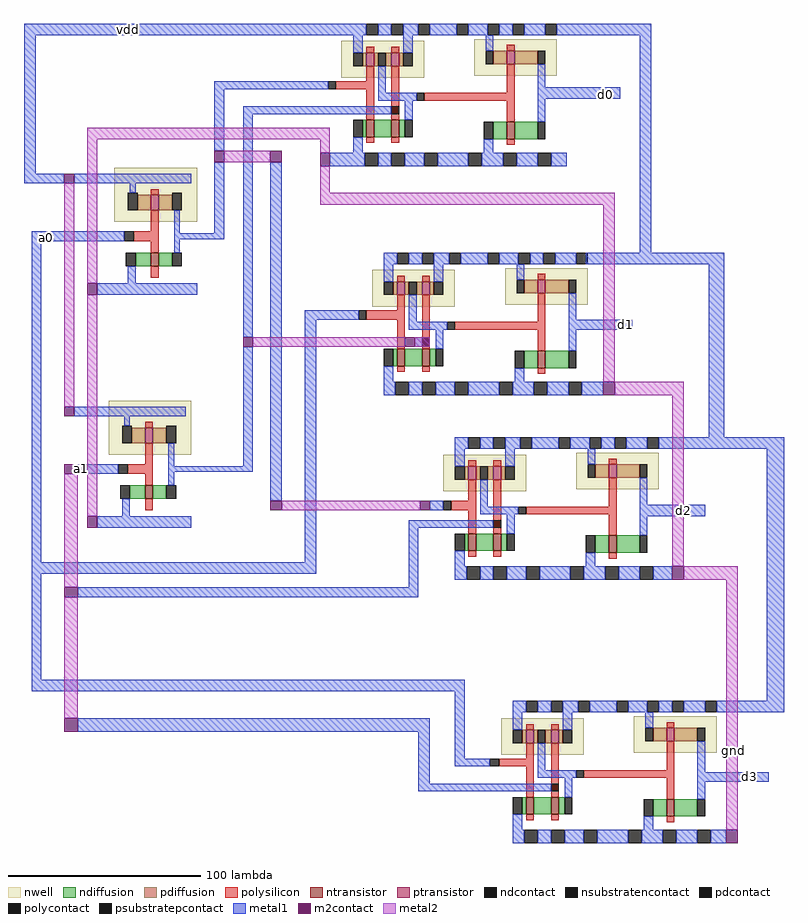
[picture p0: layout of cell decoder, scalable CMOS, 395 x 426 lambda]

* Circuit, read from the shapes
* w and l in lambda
.subckt decoder a0 a1 d0 d1 d2 d3 gnd vdd
M1 and_0/b a1 gnd gnd nfet w=7 l=4
M2 and_0/a a0 gnd gnd nfet w=7 l=4
M3 n1 and_0/a gnd gnd nfet w=9 l=4
M4 n2 and_0/b n1 gnd nfet w=9 l=4
M5 n3 a0 gnd gnd nfet w=9 l=4
M6 n4 and_0/b n3 gnd nfet w=9 l=4
M7 n5 and_0/a gnd gnd nfet w=9 l=4
M8 n6 a1 n5 gnd nfet w=9 l=4
M9 d0 n2 gnd gnd nfet w=9 l=4
M10 n7 a0 gnd gnd nfet w=9 l=4
M11 d1 n4 gnd gnd nfet w=9 l=4
M12 n8 a1 n7 gnd nfet w=9 l=4
M13 d2 n6 gnd gnd nfet w=9 l=4
M14 d3 n8 gnd gnd nfet w=9 l=4
M15 and_0/b a1 vdd n9 pfet w=8 l=4
M16 and_0/a a0 vdd n10 pfet w=8 l=4
M17 n2 and_0/a vdd n11 pfet w=7 l=4
M18 vdd and_0/b n2 n11 pfet w=7 l=4
M19 n4 a0 vdd n12 pfet w=7 l=4
M20 vdd and_0/b n4 n12 pfet w=7 l=4
M21 n6 and_0/a vdd n13 pfet w=7 l=4
M22 vdd a1 n6 n13 pfet w=7 l=4
M23 d0 n2 vdd n14 pfet w=7 l=4
M24 n8 a0 vdd n15 pfet w=7 l=4
M25 d1 n4 vdd n16 pfet w=7 l=4
M26 vdd a1 n8 n15 pfet w=7 l=4
M27 d2 n6 vdd n17 pfet w=7 l=4
M28 d3 n8 vdd n18 pfet w=7 l=4
.ends

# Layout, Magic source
magic
tech scmos
<< polysilicon >>
rect 69 159 88 163
rect 98 150 102 151
rect 85 39 101 44
rect 129 -60 141 -55
rect 154 -193 172 -189
<< polycontact >>
rect 65 159 69 163
rect 98 146 102 150
rect 81 39 85 44
rect 114 25 118 30
rect 125 -60 129 -55
rect 151 -69 155 -65
rect 149 -193 154 -189
rect 181 -206 185 -202
<< metal1 >>
rect -93 187 81 193
rect 184 187 233 193
rect -93 115 -87 187
rect 6 159 65 163
rect 6 127 11 159
rect 174 154 217 160
rect -93 110 -72 115
rect -67 110 -43 115
rect -89 80 -42 85
rect 6 84 11 121
rect -9 81 11 84
rect 21 146 98 150
rect -89 -87 -84 80
rect -55 52 -46 58
rect 21 30 26 146
rect -67 -11 -30 -6
rect -65 -41 -52 -36
rect 21 -37 26 25
rect -12 -40 26 -37
rect 35 -55 41 121
rect 66 119 82 126
rect 227 74 233 187
rect 199 68 271 74
rect 53 39 81 44
rect -55 -69 -49 -63
rect 53 -87 59 39
rect 190 34 223 39
rect 110 25 114 30
rect 205 0 208 7
rect 263 -22 271 68
rect 237 -28 302 -22
rect 118 -60 125 -55
rect 227 -63 261 -57
rect -89 -93 59 -87
rect 107 -69 151 -65
rect -89 -148 -84 -93
rect 107 -100 112 -69
rect 241 -96 244 -89
rect -65 -105 112 -100
rect -89 -154 136 -148
rect -65 -175 118 -168
rect 112 -202 118 -175
rect 131 -189 136 -154
rect 293 -159 302 -28
rect 267 -165 302 -159
rect 131 -193 149 -189
rect 257 -201 294 -196
rect 112 -206 181 -202
<< m2contact >>
rect 6 121 11 127
rect -72 110 -67 115
rect -60 52 -55 58
rect 21 25 26 30
rect -72 -11 -67 -6
rect -72 -41 -65 -36
rect 35 121 41 127
rect 61 119 66 126
rect 35 -60 41 -55
rect -60 -69 -55 -63
rect 105 25 110 30
rect 208 0 214 7
rect 113 -60 118 -55
rect 244 -96 250 -89
rect -72 -105 -65 -100
rect -72 -175 -65 -168
rect 272 -233 278 -226
<< metal2 >>
rect -60 133 66 139
rect -72 -6 -67 110
rect -60 58 -55 133
rect 11 121 35 127
rect 61 126 66 133
rect 61 105 66 119
rect 61 99 214 105
rect -72 -100 -65 -41
rect -60 -63 -55 52
rect 26 25 105 30
rect 110 25 118 30
rect 208 7 214 99
rect 214 0 250 7
rect 41 -60 113 -55
rect 244 -89 250 0
rect 250 -96 278 -89
rect -72 -168 -65 -105
rect 272 -226 278 -96
use not  not_0
transform 1 0 -44 0 1 80
box -7 -28 41 38
use not  not_1
transform 1 0 -47 0 1 -41
box -7 -28 41 38
use and  and_0
transform 1 0 115 0 1 157
box -43 -38 74 36
use and  and_1
transform 1 0 131 0 1 38
box -43 -38 74 36
use and  and_2
transform 1 0 168 0 1 -58
box -43 -38 74 36
use and  and_3
transform 1 0 198 0 1 -195
box -43 -38 74 36
<< labels >>
rlabel metal1 -83 81 -80 83 1 a0
rlabel metal1 -64 -39 -62 -37 1 a1
rlabel metal1 -41 189 -36 191 5 vdd
rlabel metal2 275 -186 277 -183 1 gnd
rlabel metal1 283 -200 285 -197 1 d3
rlabel metal1 239 -63 261 -57 1 d2
rlabel metal1 218 35 221 38 1 d1
rlabel metal1 207 155 211 157 1 d0
<< end >>

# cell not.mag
magic
tech scmos
<< nwell >>
rect -2 10 41 38
<< ntransistor >>
rect 17 -13 21 -6
<< ptransistor >>
rect 17 16 21 24
<< ndiffusion >>
rect 9 -13 17 -6
rect 21 -13 28 -6
<< pdiffusion >>
rect 10 16 17 24
rect 21 16 28 24
<< ndcontact >>
rect 4 -13 9 -6
rect 28 -13 33 -6
<< pdcontact >>
rect 5 16 10 25
rect 28 16 33 25
<< polysilicon >>
rect 17 24 21 27
rect 17 5 21 16
rect 8 0 21 5
rect 17 -6 21 0
rect 17 -19 21 -13
<< polycontact >>
rect 3 0 8 5
<< metal1 >>
rect 0 30 38 35
rect 6 25 9 30
rect -7 0 3 5
rect 29 4 32 16
rect 29 1 37 4
rect 29 -6 32 1
rect 5 -22 9 -13
rect -2 -28 41 -22
<< labels >>
rlabel metal1 16 31 21 33 1 vdd
rlabel metal1 29 1 37 4 1 out
rlabel metal1 -6 1 2 4 3 in
rlabel metal1 17 -27 25 -24 1 gnd
<< end >>

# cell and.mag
magic
tech scmos
<< nwell >>
rect -43 8 0 27
rect 26 9 69 28
<< ntransistor >>
rect -30 -23 -26 -14
rect -17 -23 -13 -14
rect 43 -24 47 -15
<< ptransistor >>
rect -30 14 -26 21
rect -17 14 -13 21
rect 43 15 47 22
<< ndiffusion >>
rect -32 -23 -30 -14
rect -26 -23 -17 -14
rect -13 -23 -10 -14
rect 36 -24 43 -15
rect 47 -24 59 -15
<< pdiffusion >>
rect -32 14 -30 21
rect -26 14 -24 21
rect -20 14 -17 21
rect -13 14 -11 21
rect 36 15 43 22
rect 47 15 59 22
<< ndcontact >>
rect -37 -23 -32 -14
rect -10 -23 -6 -14
rect 31 -24 36 -15
rect 59 -24 63 -15
<< pdcontact >>
rect -37 14 -32 21
rect -24 14 -20 21
rect -11 14 -6 21
rect 32 15 36 22
rect 59 15 63 22
<< psubstratepcontact >>
rect -31 -38 -24 -31
rect -17 -38 -10 -31
rect 0 -38 7 -31
rect 23 -38 30 -31
rect 41 -38 48 -31
rect 59 -38 66 -31
<< nsubstratencontact >>
rect -30 30 -24 36
rect -17 30 -11 36
rect -3 30 3 36
rect 17 30 23 36
rect 33 30 39 36
rect 46 30 52 36
rect 63 30 69 36
<< polysilicon >>
rect -30 21 -26 24
rect -17 21 -13 24
rect 43 22 47 25
rect -30 -14 -26 14
rect -17 -14 -13 14
rect 43 0 47 15
rect 0 -4 47 0
rect 43 -15 47 -4
rect -30 -26 -26 -23
rect -17 -26 -13 -23
rect 43 -27 47 -24
<< polycontact >>
rect -4 -4 0 0
<< metal1 >>
rect -37 30 -30 36
rect -24 30 -17 36
rect -11 30 -3 36
rect 3 30 17 36
rect 23 30 33 36
rect 39 30 46 36
rect 52 30 63 36
rect -37 21 -32 30
rect -11 21 -6 30
rect 32 22 36 30
rect -24 0 -20 14
rect -24 -4 -4 0
rect -10 -14 -6 -4
rect 59 -15 63 15
rect -37 -31 -32 -23
rect 31 -31 36 -24
rect -37 -38 -31 -31
rect -24 -38 -17 -31
rect -10 -38 0 -31
rect 7 -38 23 -31
rect 30 -38 41 -31
rect 48 -38 59 -31
rect 66 -38 74 -31
<< labels >>
rlabel metal1 -33 32 -32 33 5 vdd
rlabel metal1 -34 -35 -33 -34 1 gnd
rlabel polysilicon -29 -4 -28 -3 1 a
rlabel polysilicon -15 2 -14 3 1 b
rlabel metal1 61 -2 62 -1 1 y
<< end >>
